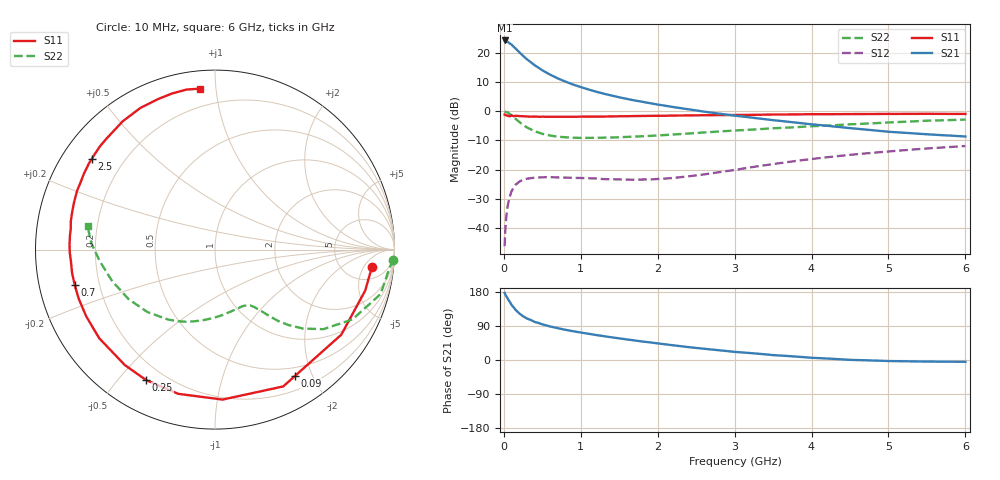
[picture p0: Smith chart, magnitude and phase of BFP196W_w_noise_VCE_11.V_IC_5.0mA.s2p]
! Infineon Technologies  Discrete & RF Semiconductors
! BFP196W
! VCE =  11. V,  IC =  5.0 mA
! Common Emitter S-Parameters:  Jan 2017
# GHz  S  MA  R  50
!  f  S11  S21  S12  S22
! GHz  MAG  ANG  MAG  ANG  MAG  ANG  MAG  ANG
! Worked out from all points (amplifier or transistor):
!   77 points, 10 MHz to 6 GHz, reference 50 ohm
!   highest |S21| = 24.3 dB at 10 MHz (marker M1)
!   |S21| within 3 dB of that: start of sweep to 161.9 MHz
!   unconditionally stable (mu >= 1): 1.571 GHz to 3.156 GHz
!   at 130 MHz: K = 0.10, MSG = 24.1 dB, |S12| = -26.0 dB
!   at 2.2 GHz: K = 1.15, MAG = 9.8 dB, |S12| = -22.8 dB
!   at 6 GHz: K = 0.90, MSG = 1.6 dB, |S12| = -11.9 dB
!   lowest NFmin = 0.90 dB at 450 MHz
!   S11 on the Smith chart (normalised r, x): 10 MHz: 9, -8; 90 MHz: 0.38, -1.75; 250 MHz: 0.13, -0.59; 700 MHz: 0.11, -0.12; 2.5 GHz: 0.09, +0.33; 6 GHz: 0.10, +0.91
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0.01  0.8799 -6.3  16.33 177.3  0.0049 84.3  0.9945 -3.2
0.02  0.8674 -15.3  16.22 172.5  0.0098 84.9  0.9775 -6.0
0.05  0.8484 -34.0  15.53 161.8  0.0242 71.8  0.9554 -15.0
0.09  0.8333 -57.7  14.13 149.0  0.039 59.7  0.8753 -24.3
0.1  0.8518 -63.5  13.9 145.5  0.0429 58.0  0.8593 -26.9
0.15  0.8367 -87.1  11.99 133.0  0.0549 46.7  0.749 -36.3
0.2  0.8293 -104.3  10.29 123.1  0.0621 39.1  0.6587 -41.9
0.25  0.822 -117.9  8.906 115.5  0.0674 32.7  0.5859 -45.8
0.3  0.8162 -128.0  7.768 109.6  0.0701 28.2  0.5289 -48.6
0.4  0.8124 -142.6  6.154 100.6  0.073 22.6  0.4541 -51.8
0.5  0.8081 -152.6  5.033 94.1  0.074 19.2  0.4116 -54.0
0.6  0.8072 -160.1  4.252 88.6  0.0746 17.1  0.3851 -55.9
0.7  0.806 -165.9  3.667 84.0  0.0735 15.8  0.3673 -57.8
0.9  0.8052 -175.2  2.873 75.9  0.0726 14.4  0.3531 -62.3
1.1  0.811 177.9  2.366 69.2  0.0713 15.6  0.3511 -67.3
1.5  0.8214 166.5  1.738 57.1  0.0681 20.5  0.3588 -78.6
2.1  0.8397 152.0  1.243 41.4  0.0706 35.0  0.3924 -97.0
2.5  0.8525 143.7  1.034 31.9  0.0799 44.5  0.4247 -109.4
3.1  0.8663 132.6  0.814 19.9  0.104 51.7  0.4756 -126.7
4.1  0.8918 116.5  0.582 4.9  0.1577 50.7  0.5615 -152.9
5.1  0.9021 104.4  0.438 -3.0  0.2103 42.9  0.652 -175.9
6  0.901 95.2  0.37 -4.7  0.2541 34.2  0.7211 169.7
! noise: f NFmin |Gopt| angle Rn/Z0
0.45  0.9  0.44  123  0.09
0.9  1.32  0.6  159  0.06
1.9  2.72  0.75  -161  0.11
2.4  3.29  0.8  -151  0.28
